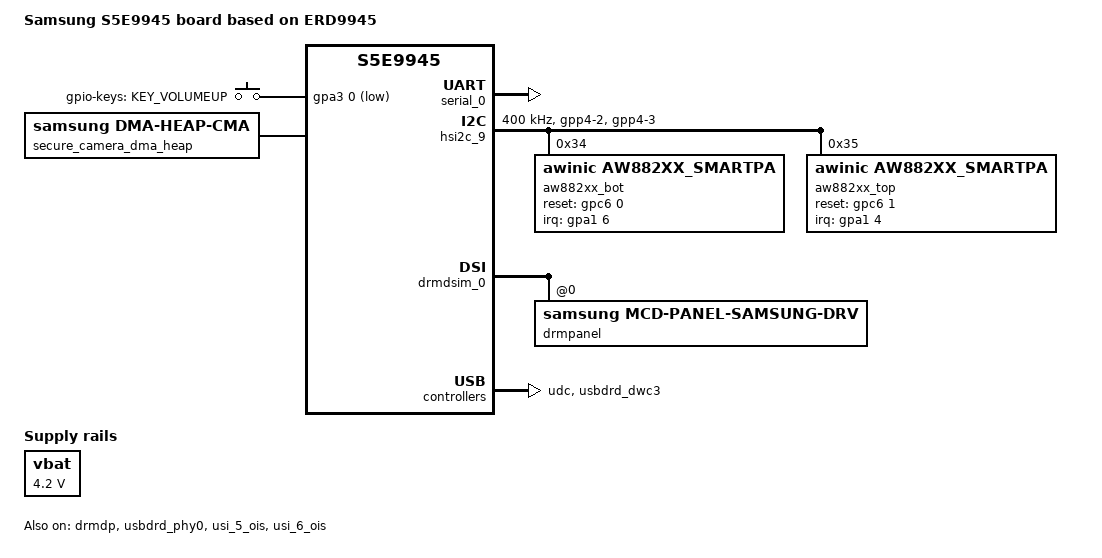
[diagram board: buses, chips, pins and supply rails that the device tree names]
/*
 * SAMSUNG S5E9945 SoC device tree source
 *
 * Copyright (c) 2023 Samsung Electronics Co., Ltd.
 *             http://www.samsung.com
 *
 * SAMSUNG S5E9945 SoC device nodes are listed in this file.
 * EXYNOS based board files can include this file and provide
 * values for board specfic bindings.
 *
 * This program is free software; you can redistribute it and/or modify
 * it under the terms of the GNU General Public License version 2 as
 * published by the Free Software Foundation.
 */

//#include <dt-bindings/clock/s5e9945.h>
#include <dt-bindings/interrupt-controller/s5e9945.h>
#include <dt-bindings/gpio/gpio.h>
#include <dt-bindings/pci/pci.h>
#include "../s5e9945_common.dtsi"
#include "../../exynos/board/erd/s5e9945-cp-s5153ap-sipc.dtsi"
#include "../../exynos/board/erd/s5e9945-erd9945-gnss.dtsi"
#include "s5e9945-sec-r13s-input-common.dtsi"

#define BOARD_ID	0x0

/ {
	compatible = "samsung,armv9", "samsung,s5e9945";
	board_id = <BOARD_ID>;
	board_rev = <0x0>;

	fragment@model {
		target-path = "/";
		__overlay__ {
			#address-cells = <2>;
			#size-cells = <1>;

			model = "Samsung S5E9945 board based on ERD9945";

			gpio_keys {
				status = "okay";
				compatible = "gpio-keys";
				pinctrl-names = "default";
				pinctrl-0 = <&key_volup>;

				button@3 {
					label = "gpio-keys: KEY_VOLUMEUP";
					linux,code = <115>;
					gpios = <&gpa3 0 0xf>;
					debounce-interval = <0x0f>;
					gpio-key,wakeup;
				};
			};

			vbat: vbat {
				compatible = "regulator-fixed";
				regulator-name = "VBAT";
				regulator-min-microvolt = <4200000>;
				regulator-max-microvolt = <4200000>;
				regulator-boot-on;
			};

			dummy_audio_codec: audio-codec-dummy {
				compatible = "snd-soc-dummy";
				#sound-dai-cells = <0>;
			};

			dummy_audio_cpu: audio-cpu-dummy {
				compatible = "samsung,dummy-cpu";
				#sound-dai-cells = <0>;
			};

			abox_synchronized_ipc_aw: abox_synchronized_ipc_aw {
				compatible = "samsung,abox-synchronized-ipc-aw";
				#sound-dai-cells = <1>;
				abox = <&abox>;
				status = "okay";
			};

			sound {
				compatible = "samsung,exynos9945-audio";

				MICBIAS1-supply = <&l12_reg>;
				MICBIAS2-supply = <&l12_reg>;

				/* Trick for probe order */
				dmas = <&dp_dma0>;

				samsung,routing =
					"DMIC1", "MICBIAS1",
					"DMIC2", "MICBIAS2",
					"BLUETOOTH SPK", "ABOX UAIF2 Playback",
					"ABOX UAIF2 Capture", "BLUETOOTH MIC",
					"USB SPK", "ABOX USB Playback",
					"ABOX USB Capture", "USB MIC",
					"FWD SPK", "ABOX FWD Playback",
					"ABOX FWD Capture", "FWD MIC",
					"VTS Virtual Output", "VTS Virtual Output Mux",
					"PAD DPDM", "DMIC1",
					"PAD DPDM", "DMIC2",
					"PAD DPDM", "DMIC3";

				samsung,aux = <&abox_effect &abox_tplg>;

				rdma0 {
					cpu {
						sound-dai = <&abox_rdma_0 0>;
					};
					platform {
						sound-dai = <&abox_rdma_0 0>;
					};
				};
				rdma1 {
					cpu {
						sound-dai = <&abox_rdma_1 0>;
					};
					platform {
						sound-dai = <&abox_rdma_1 0>;
					};
				};
				rdma2 {
					cpu {
						sound-dai = <&abox_rdma_2 0>;
					};
					platform {
						sound-dai = <&abox_rdma_2 0>;
					};
				};
				rdma3 {
					cpu {
						sound-dai = <&abox_rdma_3 0>;
					};
					platform {
						sound-dai = <&abox_rdma_3 0>;
					};
				};
				rdma4 {
					cpu {
						sound-dai = <&abox_rdma_4 0>;
					};
					platform {
						sound-dai = <&abox_rdma_4 0>;
					};
				};
				rdma5 {
					cpu {
						sound-dai = <&abox_rdma_5 0>;
					};
					platform {
						sound-dai = <&abox_rdma_5 0>;
					};
				};
				rdma6 {
					cpu {
						sound-dai = <&abox_rdma_6 0>;
					};
					platform {
						sound-dai = <&abox_rdma_6 0>;
					};
				};
				rdma7 {
					cpu {
						sound-dai = <&abox_rdma_7 0>;
					};
					platform {
						sound-dai = <&abox_rdma_7 0>;
					};
				};
				rdma8 {
					cpu {
						sound-dai = <&abox_rdma_8 0>;
					};
					platform {
						sound-dai = <&abox_rdma_8 0>;
					};
				};
				rdma9 {
					cpu {
						sound-dai = <&abox_rdma_9 0>;
					};
					platform {
						sound-dai = <&abox_rdma_9 0>;
					};
				};
				rdma10 {
					cpu {
						sound-dai = <&abox_rdma_10 0>;
					};
					platform {
						sound-dai = <&abox_rdma_10 0>;
					};
				};
				rdma11 {
					cpu {
						sound-dai = <&abox_rdma_11 0>;
					};
					platform {
						sound-dai = <&abox_rdma_11 0>;
					};
				};
				rdma12 {
					cpu {
						sound-dai = <&abox_rdma_12 0>;
					};
					platform {
						sound-dai = <&abox_rdma_12 0>;
					};
				};
				rdma13 {
					cpu {
						sound-dai = <&abox_rdma_13 0>;
					};
					platform {
						sound-dai = <&abox_rdma_13 0>;
					};
				};
				rdma14 {
					cpu {
						sound-dai = <&abox_rdma_14 0>;
					};
					platform {
						sound-dai = <&abox_rdma_14 0>;
					};
				};
				rdma15 {
					cpu {
						sound-dai = <&abox_rdma_15 0>;
					};
					platform {
						sound-dai = <&abox_rdma_15 0>;
					};
				};
				wdma0 {
					cpu {
						sound-dai = <&abox_wdma_0 0>;
					};
					platform {
						sound-dai = <&abox_wdma_0 0>;
					};
				};
				wdma1 {
					cpu {
						sound-dai = <&abox_wdma_1 0>;
					};
					platform {
						sound-dai = <&abox_wdma_1 0>;
					};
				};
				wdma2 {
					cpu {
						sound-dai = <&abox_wdma_2 0>;
					};
					platform {
						sound-dai = <&abox_wdma_2 0>;
					};
				};
				wdma3 {
					cpu {
						sound-dai = <&abox_wdma_3 0>;
					};
					platform {
						sound-dai = <&abox_wdma_3 0>;
					};
				};
				wdma4 {
					cpu {
						sound-dai = <&abox_wdma_4 0>;
					};
					platform {
						sound-dai = <&abox_wdma_4 0>;
					};
				};
				wdma5 {
					cpu {
						sound-dai = <&abox_wdma_5 0>;
					};
					platform {
						sound-dai = <&abox_wdma_5 0>;
					};
				};
				wdma6 {
					cpu {
						sound-dai = <&abox_wdma_6 0>;
					};
					platform {
						sound-dai = <&abox_wdma_6 0>;
					};
				};
				wdma7 {
					cpu {
						sound-dai = <&abox_wdma_7 0>;
					};
					platform {
						sound-dai = <&abox_wdma_7 0>;
					};
				};
				wdma8 {
					cpu {
						sound-dai = <&abox_wdma_8 0>;
					};
					platform {
						sound-dai = <&abox_wdma_8 0>;
					};
				};
				wdma9 {
					cpu {
						sound-dai = <&abox_wdma_9 0>;
					};
					platform {
						sound-dai = <&abox_wdma_9 0>;
					};
				};
				wdma10 {
					cpu {
						sound-dai = <&abox_wdma_10 0>;
					};
					platform {
						sound-dai = <&abox_wdma_10 0>;
					};
				};
				wdma11 {
					cpu {
						sound-dai = <&abox_wdma_11 0>;
					};
					platform {
						sound-dai = <&abox_wdma_11 0>;
					};
				};
				vts0 {
					cpu {
						sound-dai = <&vts 0>;
					};
					platform {
						sound-dai = <&vts_dma0>;
					};
				};
				vts1 {
					cpu {
						sound-dai = <&vts 1>;
					};
					platform {
						sound-dai = <&vts_dma1>;
					};
				};
				vts2 {
					cpu {
						sound-dai = <&vts 2>;
					};
					platform {
						sound-dai = <&vts_dma2>;
					};
				};

				dp0_audio {
					cpu {
						sound-dai = <&displayport_adma 0>;
					};
					platform {
						sound-dai = <&dp_dma0>;
					};
				};

				dual0 {
					cpu {
						sound-dai = <&abox_dual_0>;
					};
					platform {
						sound-dai = <&abox_dual_0>;
					};
				};
				dual1 {
					cpu {
						sound-dai = <&abox_dual_1>;
					};
					platform {
						sound-dai = <&abox_dual_1>;
					};
				};
				dual2 {
					cpu {
						sound-dai = <&abox_dual_2>;
					};
					platform {
						sound-dai = <&abox_dual_2>;
					};
				};
				dual3 {
					cpu {
						sound-dai = <&abox_dual_3>;
					};
					platform {
						sound-dai = <&abox_dual_3>;
					};
				};
				dual4 {
					cpu {
						sound-dai = <&abox_dual_4>;
					};
					platform {
						sound-dai = <&abox_dual_4>;
					};
				};
				dual5 {
					cpu {
						sound-dai = <&abox_dual_5>;
					};
					platform {
						sound-dai = <&abox_dual_5>;
					};
				};
				dual6 {
					cpu {
						sound-dai = <&abox_dual_6>;
					};
					platform {
						sound-dai = <&abox_dual_6>;
					};
				};
				dual7 {
					cpu {
						sound-dai = <&abox_dual_7>;
					};
					platform {
						sound-dai = <&abox_dual_7>;
					};
				};
				dual8 {
					cpu {
						sound-dai = <&abox_dual_8>;
					};
					platform {
						sound-dai = <&abox_dual_8>;
					};
				};
				dual9 {
					cpu {
						sound-dai = <&abox_dual_9>;
					};
					platform {
						sound-dai = <&abox_dual_9>;
					};
				};
				dual10 {
					cpu {
						sound-dai = <&abox_dual_10>;
					};
					platform {
						sound-dai = <&abox_dual_10>;
					};
				};
				dual11 {
					cpu {
						sound-dai = <&abox_dual_11>;
					};
					platform {
						sound-dai = <&abox_dual_11>;
					};
				};
				ddma0 {
					cpu {
						sound-dai = <&abox_ddma_0>;
					};
					platform {
						sound-dai = <&abox_ddma_0>;
					};
				};
				ddma1 {
					cpu {
						sound-dai = <&abox_ddma_1>;
					};
					platform {
						sound-dai = <&abox_ddma_1>;
					};
				};
				ddma2 {
					cpu {
						sound-dai = <&abox_ddma_2>;
					};
					platform {
						sound-dai = <&abox_ddma_2>;
					};
				};
				ddma3 {
					cpu {
						sound-dai = <&abox_ddma_3>;
					};
					platform {
						sound-dai = <&abox_ddma_3>;
					};
				};
				ddma4 {
					cpu {
						sound-dai = <&abox_ddma_4>;
					};
					platform {
						sound-dai = <&abox_ddma_4>;
					};
				};
				ddma5 {
					cpu {
						sound-dai = <&abox_ddma_5>;
					};
					platform {
						sound-dai = <&abox_ddma_5>;
					};
				};
				uaif0 {
					format = "i2s";
					cpu {
						sound-dai = <&abox_uaif_0>;
					};
				};
				uaif1 {
					format = "i2s";
					cpu {
						sound-dai = <&abox_uaif_1>;
					};
				};
				uaif2 {
					format = "i2s";
					cpu {
						sound-dai = <&abox_uaif_2>;
					};
				};
				uaif3 {
					format = "i2s";
					cpu {
						sound-dai = <&abox_uaif_3>;
					};
					codec {
						sound-dai = <&aw882xx_top &aw882xx_bot>;
					};
				};
				uaif4 {
					format = "dsp_a";
					cpu {
						sound-dai = <&abox_uaif_4>;
					};
				};
				uaif5 {
					format = "dsp_a";
					cpu {
						sound-dai = <&abox_uaif_5>;
					};
				};
				uaif6 {
					format = "dsp_a";
					bitclock-master;
					bitclock-inversion;
					frame-master;

					cpu {
						sound-dai = <&abox_uaif_6>;
					};
					codec {
						sound-dai = <&vts_s_lif 0>;
					};
				};
				dsif0 {
					format = "pdm";
					cpu {
						sound-dai = <&abox_dsif>;
					};
				};
				udma_rd0 {
					cpu {
						sound-dai = <&abox_udma_rd_0>;
					};
				};
				udma_wr0 {
					cpu {
						sound-dai = <&abox_udma_wr_0>;
					};
				};
				udma_wr_dual0 {
					cpu {
						sound-dai = <&abox_udma_wr_dual_0>;
					};
				};
				udma_wr_dbg0 {
					cpu {
						sound-dai = <&abox_udma_wr_debug_0>;
					};
				};
				rdma0_be {
					cpu {
						sound-dai = <&abox_rdma_0 1>;
					};
					platform {
						sound-dai = <&abox_rdma_0 1>;
					};
				};
				rdma1_be {
					cpu {
						sound-dai = <&abox_rdma_1 1>;
					};
					platform {
						sound-dai = <&abox_rdma_1 1>;
					};
				};
				rdma2_be {
					cpu {
						sound-dai = <&abox_rdma_2 1>;
					};
					platform {
						sound-dai = <&abox_rdma_2 1>;
					};
				};
				rdma3_be {
					cpu {
						sound-dai = <&abox_rdma_3 1>;
					};
					platform {
						sound-dai = <&abox_rdma_3 1>;
					};
				};
				rdma4_be {
					cpu {
						sound-dai = <&abox_rdma_4 1>;
					};
					platform {
						sound-dai = <&abox_rdma_4 1>;
					};
				};
				rdma5_be {
					cpu {
						sound-dai = <&abox_rdma_5 1>;
					};
					platform {
						sound-dai = <&abox_rdma_5 1>;
					};
				};
				rdma6_be {
					cpu {
						sound-dai = <&abox_rdma_6 1>;
					};
					platform {
						sound-dai = <&abox_rdma_6 1>;
					};
				};
				rdma7_be {
					cpu {
						sound-dai = <&abox_rdma_7 1>;
					};
					platform {
						sound-dai = <&abox_rdma_7 1>;
					};
				};
				rdma8_be {
					cpu {
						sound-dai = <&abox_rdma_8 1>;
					};
					platform {
						sound-dai = <&abox_rdma_8 1>;
					};
				};
				rdma9_be {
					cpu {
						sound-dai = <&abox_rdma_9 1>;
					};
					platform {
						sound-dai = <&abox_rdma_9 1>;
					};
				};
				rdma10_be {
					cpu {
						sound-dai = <&abox_rdma_10 1>;
					};
					platform {
						sound-dai = <&abox_rdma_10 1>;
					};
				};
				rdma11_be {
					cpu {
						sound-dai = <&abox_rdma_11 1>;
					};
					platform {
						sound-dai = <&abox_rdma_11 1>;
					};
				};
				rdma12_be {
					cpu {
						sound-dai = <&abox_rdma_12 1>;
					};
					platform {
						sound-dai = <&abox_rdma_12 1>;
					};
				};
				rdma13_be {
					cpu {
						sound-dai = <&abox_rdma_13 1>;
					};
					platform {
						sound-dai = <&abox_rdma_13 1>;
					};
				};
				rdma14_be {
					cpu {
						sound-dai = <&abox_rdma_14 1>;
					};
					platform {
						sound-dai = <&abox_rdma_14 1>;
					};
				};
				rdma15_be {
					cpu {
						sound-dai = <&abox_rdma_15 1>;
					};
					platform {
						sound-dai = <&abox_rdma_15 1>;
					};
				};
				wdma0_be {
					cpu {
						sound-dai = <&abox_wdma_0 1>;
					};
					platform {
						sound-dai = <&abox_wdma_0 1>;
					};
				};
				wdma1_be {
					cpu {
						sound-dai = <&abox_wdma_1 1>;
					};
					platform {
						sound-dai = <&abox_wdma_1 1>;
					};
				};
				wdma2_be {
					cpu {
						sound-dai = <&abox_wdma_2 1>;
					};
					platform {
						sound-dai = <&abox_wdma_2 1>;
					};
				};
				wdma3_be {
					cpu {
						sound-dai = <&abox_wdma_3 1>;
					};
					platform {
						sound-dai = <&abox_wdma_3 1>;
					};
				};
				wdma4_be {
					cpu {
						sound-dai = <&abox_wdma_4 1>;
					};
					platform {
						sound-dai = <&abox_wdma_4 1>;
					};
				};
				wdma5_be {
					cpu {
						sound-dai = <&abox_wdma_5 1>;
					};
					platform {
						sound-dai = <&abox_wdma_5 1>;
					};
				};
				wdma6_be {
					cpu {
						sound-dai = <&abox_wdma_6 1>;
					};
					platform {
						sound-dai = <&abox_wdma_6 1>;
					};
				};
				wdma7_be {
					cpu {
						sound-dai = <&abox_wdma_7 1>;
					};
					platform {
						sound-dai = <&abox_wdma_7 1>;
					};
				};
				wdma8_be {
					cpu {
						sound-dai = <&abox_wdma_8 1>;
					};
					platform {
						sound-dai = <&abox_wdma_8 1>;
					};
				};
				wdma9_be {
					cpu {
						sound-dai = <&abox_wdma_9 1>;
					};
					platform {
						sound-dai = <&abox_wdma_9 1>;
					};
				};
				wdma10_be {
					cpu {
						sound-dai = <&abox_wdma_10 1>;
					};
					platform {
						sound-dai = <&abox_wdma_10 1>;
					};
				};
				wdma11_be {
					cpu {
						sound-dai = <&abox_wdma_11 1>;
					};
					platform {
						sound-dai = <&abox_wdma_11 1>;
					};
				};
				usb {
					cpu {
						sound-dai = <&abox 0>;
					};
				};
				fwd {
					cpu {
						sound-dai = <&abox 1>;
					};
				};
			}; /* end of sound */

			abox_synchronized_ipc_ti: abox_synchronized_ipc_ti {
				compatible = "samsung,abox-synchronized-ipc-ti";
				#sound-dai-cells = <1>;
				abox = <&abox>;
				status = "okay";
			};

			sec-audio-sysfs {
				compatible = "samsung,audio-sysfs";
				status = "okay";
				audio,no-earjack;
				audio,num-amp = <2>;
			};

			sec-audio-debug {
				compatible = "samsung,audio-debug";
				status = "okay";

				abox_dbg_size_min = <0x600000>;
				abox_slog_size_min = <0x0>;
			};

			snd-debug-proc {
				compatible = "samsung,snd-debug-proc";
				status = "okay";
			};

			usb_hs_tune:hs_tune_phy {
				status = "disabled";
				hs_tune_cnt = <12>;
				/* value = <device host> */
				/* 0xffffffff means using default value */
				hs_tune1 {
					tune_name = "tx_fsls_slew_rate";
					tune_value = <0xffffffff 0xffffffff>;
				};

				hs_tune2 {
					tune_name = "tx_fsls_vref_tune";
					tune_value = <0x0 0x0>;
				};

				hs_tune3 {
					tune_name = "tx_fsls_vreg_bypass";
					tune_value = <0xffffffff 0xffffffff>;
				};

				hs_tune4 {
					tune_name = "tx_hs_vref_tune";
					tune_value = <0xffffffff 0xffffffff>;
				};

				hs_tune5 {
					tune_name = "tx_hs_xv";
					tune_value = <0xffffffff 0xffffffff>;
				};

				hs_tune6 {
					tune_name = "tx_preemp";
					tune_value = <0xffffffff 0xffffffff>;
				};

				hs_tune7 {
					tune_name = "tx_res";
					tune_value = <0xffffffff 0xffffffff>;
				};

				hs_tune8 {
					tune_name = "tx_rise";
					tune_value = <0xffffffff 0xffffffff>;
				};

				hs_tune9 {
					tune_name = "rx_eq_ctle";
					tune_value = <0xffffffff 0xffffffff>;
				};

				hs_tune10 {
					tune_name = "rx_hs_term_en";
					tune_value = <0xffffffff 0xffffffff>;
				};

				hs_tune11 {
					tune_name = "rx_hs_tune";
					tune_value = <0xffffffff 0xffffffff>;
				};

				hs_tune12 {
					tune_name = "reg_direct";
					tune_value = <0xffffffff 0xffffffff>;
				};
			};

			usb_ss_tune:ss_tune {
				status = "disabled";
				ss_tune_cnt = <13>;
				/* value = <device host> */
				/* 0xffffffff means using default value */
				ss_tune1 {
					tune_name = "tx_eq_pre_g1";
					tune_value = <0xffffffff 0xffffffff>;
				};

				ss_tune2 {
					tune_name = "tx_eq_pre_g2";
					tune_value = <0xffffffff 0xffffffff>;
				};

				ss_tune3 {
					tune_name = "tx_eq_post_g1";
					tune_value = <0xffffffff 0xffffffff>;
				};

				ss_tune4 {
					tune_name = "tx_eq_post_g2";
					tune_value = <0xffffffff 0xffffffff>;
				};

				ss_tune5 {
					tune_name = "tx_eq_main_g1";
					tune_value = <0xffffffff 0xffffffff>;
				};

				ss_tune6 {
					tune_name = "tx_eq_main_g2";
					tune_value = <0xffffffff 0xffffffff>;
				};

				ss_tune7 {
					tune_name = "tx_vswing_lvl";
					tune_value = <0xffffffff 0xffffffff>;
				};

				ss_tune8 {
					tune_name = "rx_eq_att_lvl";
					tune_value = <0xffffffff 0xffffffff>;
				};

				ss_tune9 {
					tune_name = "rx_eq_afe_gain";
					tune_value = <0xffffffff 0xffffffff>;
				};

				ss_tune10 {
					tune_name = "rx_eq_ctle_boost";
					tune_value = <0xffffffff 0xffffffff>;
				};

				ss_tune11 {
					tune_name = "rx_term_ctrl";
					tune_value = <0xffffffff 0xffffffff>;
				};

				ss_tune12 {
					tune_name = "tx_term_ctrl";
					tune_value = <0xffffffff 0xffffffff>;
				};

				ss_tune13 {
					tune_name = "tx_rxdet_time";
					tune_value = <0xffffffff 0xffffffff>;
				};
			};

			secure_camera_dma_heap {
				compatible = "samsung,dma-heap-cma";
				memory-region = <&secure_camera>;
				dma-heap,name = "secure_camera";
				dma-heap,preallocated;
				dma-heap,secure;
				dma-heap,secure_sysmmu;
				dma-heap,protection_id = <11>;
				dma-heap,alignment = <0x10000>;
			};
		};

		muic {
			status = "okay";
			muic,support-list = "TA","USB","CDP","JIG UART OFF","JIG UART OFF/VB",
				"JIG UART ON","JIG UART ON/VB","JIG USB OFF",
				"JIG USB ON","OTG","Unofficial TA","DCD Timeout",
				"AFC Charger";
		};

	};
};

&chosen {
	bootargs_ext = "";
};

&serial_0 {
	status = "okay";
};

&pinctrl_7 {
	aud_i2s2_active_common: aud-i2s2-active-common {
		samsung,pins = "gpb2-0", "gpb2-1", "gpb2-2";
		samsung,pin-function = <2>;
		samsung,pin-pud = <0>;
	};
	aud_i2s2_active_din: aud-i2s2-active-din {
		samsung,pins = "gpb2-3";
		samsung,pin-function = <2>;
		samsung,pin-pud = <0>;
	};
	aud_i2s2_idle_common: aud-i2s2-idle-common {
		samsung,pins = "gpb2-0", "gpb2-1", "gpb2-2";
		samsung,pin-function = <0>;
		samsung,pin-pud = <1>;
	};
	aud_i2s2_idle_din: aud-i2s2-idle-din {
		samsung,pins = "gpb2-3";
		samsung,pin-function = <0>;
		samsung,pin-pud = <0>;
		samsung,pin-pud-pdn = <0>;
	};
};

&pinctrl_9 {
	aud_i2s3_bus:aud-i2s3-bus {
		samsung,pins = "gpb5-0", "gpb5-1", "gpb5-2", "gpb5-3";
		samsung,pin-function = <2>;
		samsung,pin-pud = <0>;
		samsung,pin-drv = <2>;
	};

	aud_i2s3_idle:aud-i2s3-idle {
		samsung,pins = "gpb5-0", "gpb5-1", "gpb5-2", "gpb5-3";
		samsung,pin-function = <0>;
		samsung,pin-pud = <1>;
		samsung,pin-drv = <2>;
	};
};

&abox_uaif_2 {
	/delete-property/ pinctrl-names;
	/delete-property/ pinctrl-0;
	/delete-property/ pinctrl-1;
	pinctrl-names = "active", "idle";
	pinctrl-0 = <&aud_i2s2_active_common &aud_i2s2_active_din>;
	pinctrl-1 = <&aud_i2s2_idle_common &aud_i2s2_idle_din>;
};

&abox_uaif_3 {
	pinctrl-names = "active", "idle";
	pinctrl-0 = <&aud_i2s3_bus>;
	pinctrl-1 = <&aud_i2s3_idle>;
};

&pinctrl_0 {
	aw882xx_l_int: aw882xx-l-int {
		samsung,pins = "gpa1-4";
		samsung,pin-function = <0xf>;
		samsung,pin-pud = <3>;
		samsung,pin-con-pdn = <3>;
		samsung,pin-pud-pdn = <3>;
	};
	aw882xx_r_int: aw882xx-r-int {
		samsung,pins = "gpa1-6";
		samsung,pin-function = <0xf>;
		samsung,pin-pud = <3>;
		samsung,pin-con-pdn = <3>;
		samsung,pin-pud-pdn = <3>;
	};
};

&pinctrl_5 {
	hsi2c9_amp_bus: hsi2c9-amp-bus {
		samsung,pins = "gpp4-2", "gpp4-3";
		samsung,pin-function = <3>;
		samsung,pin-pud = <3>;
		samsung,pin-drv = <0>;
		samsung,pin-con-pdn = <3>;
		samsung,pin-pud-pdn = <3>;
	};
};

&pinctrl_7 {
	aw882xx_r_reset: aw882xx-r-reset {
		samsung,pins ="gpc6-0";
		samsung,pin-function = <1>;
		samsung,pin-val = <1>;
		samsung,pin-pud = <0>;
		samsung,pin-con-pdn = <3>;
		samsung,pin-pud-pdn = <0>;
	};
	aw882xx_l_reset: aw882xx-l-reset {
		samsung,pins ="gpc6-1";
		samsung,pin-function = <1>;
		samsung,pin-val = <1>;
		samsung,pin-pud = <0>;
		samsung,pin-con-pdn = <3>;
		samsung,pin-pud-pdn = <0>;
	};
};

&hsi2c_9 {
	#address-cells = <1>;
	#size-cells = <0>;
	status = "okay";
	clock-frequency = <400000>;
	pinctrl-names = "default";
	pinctrl-0 = <&hsi2c9_amp_bus>;

	aw882xx_bot: aw882xx_smartpa@34 {
		compatible = "awinic,aw882xx_smartpa";
		#sound-dai-cells = <0>;
		reg = <0x34>;
		chip-id = <0x2308>;
		pinctrl-names = "default";
		pinctrl-0 = <&aw882xx_r_reset &aw882xx_r_int>;

		num-amp = <2>;
		reset-gpio = <&gpc6 0 0>;
		irq-gpio = <&gpa1 6 0>;
		rename-flag = <1>;
		sound-channel = <1>;
		sync-load = <1>;
		sync-flag = <0>;
		aw-cali-mode = "aw_cali_all";
		status = "okay";
	};

	aw882xx_top: aw882xx_smartpa@35 {
		compatible = "awinic,aw882xx_smartpa";
		#sound-dai-cells = <0>;
		reg = <0x35>;
		chip-id = <0x2308>;
		pinctrl-names = "default";
		pinctrl-0 = <&aw882xx_l_reset &aw882xx_l_int>;

		num-amp = <2>;
		reset-gpio = <&gpc6 1 0>;
		irq-gpio = <&gpa1 4 0>;
		rename-flag = <1>;
		sound-channel = <0>;
		sync-load = <1>;
		sync-flag = <0>;
		aw-cali-mode = "aw_cali_all";
		status = "okay";
	};
};

&hsi2c4_bus {
    samsung,pin-pud = <3>;
    samsung,pin-pud-pdn = <3>;
};

&pinctrl_7 {
	ddi_rst: ddi-rst {
		samsung,pins = "gpc7-0";
		samsung,pin-function = <1>;    // OUT
		samsung,pin-pud = <0>;        // NP
		samsung,pin-con-pdn = <3>;    // PREV in sleep
		samsung,pin-pud-pdn = <0>;    // NP in sleep
	};
};

&drmdsim_0 {
	#address-cells = <1>;
	#size-cells = <0>;
	dsi-burst-cmd = <1>;
	frequency-hopping;
	wide-frequency-hopping;
	drmpanel {
		   compatible = "samsung,mcd-panel-samsung-drv";
		   /* reset, power */
		   reg = <0>;
	};
};

&drmdp {
	/* GPIO, PMIC-external GPIO */
	status = "okay";
	/* below gpios are pmic gpio, plz modify after implementation */
	dp,aux_sw_oe = <&s2mps28_1_gpio 1 0>;
	dp,sbu_sw_sel = <&s2mps28_1_gpio 2 0>;
	dp,usb_con_sel = <&gpc7 1 0>;
	pinctrl-names = "default";
};

&pinctrl_0 {
	key_volup: key-volup {
		samsung,pins = "gpa3-0";
		samsung,pin-function = <0xf>;
		samsung,pin-pud = <3>;
		samsung,pin-drv = <3>;
	};

	dc_irq: dc-irq {
		samsung,pins = "gpa1-7";
		samsung,pin-function = <0>;
		samsung,pin-pud = <0>;
		samsung,pin-drv = <0>;
	};
};

&hsi2c16_bus {
	samsung,pin-con-pdn = <3>;
	samsung,pin-pud-pdn = <0>;
};

&udc {
	status = "okay";
};

&usbdrd_dwc3 {
	status = "okay";
	maximum-speed = "super-speed";
	usb_audio_offloading = <1>;
	abox = <&abox>;
	samsung,abox-gic = <&abox_gic>;
	xhci_use_uram_for_audio = <1>;

	vdd075_usb-supply = <&s5_l2_reg>;
	vdd12_usb-supply = <&s4_l4_reg>;
	vdd18_usb-supply = <&l7_reg>;
	vdd33_usb-supply = <&l11_reg>;

	/delete-property/ snps,dis-u1-entry-quirk;
	/delete-property/ snps,dis-u2-entry-quirk;
};

&usbdrd_phy0 {
	status = "okay";

	pinctrl-names = "default";
	phy,gpio_phy_port = <&gpc7 1 0x0>;
	hs_tune_param = <&usb_hs_tune>;
	ss_tune_param = <&usb_ss_tune>;
	low_power_call = <1>;

	vdd075_usb-supply = <&s5_l2_reg>;
	vdd12_usb-supply = <&s4_l4_reg>;
	vdd18_usb-supply = <&l7_reg>;
	vdd33_usb-supply = <&l11_reg>;
};
/* USB board DT end */

&ufs {
	vcc-supply = <&l8_reg>;
	vccq-supply = <&s4_l5_reg>;
};

&usi_5_ois {
	usi_v2_mode = "i2c";
	status = "okay";
};

&usi_6_ois {
	usi_v2_mode = "spi";
	status = "okay";
};

&ssp {
	vdd_se-supply = <&l15_reg>;
};

&drmdpp16 {
	/* RCD BLOCK mode configurations, based on panel size*/
	rcd_block_mode_en = <1>;

	/* block mode start offset (x,y) */
	rcd_block_mode_x  = <0>;
	rcd_block_mode_y  = <136>;

	/* block mode width & height from offset (x,y) */
	rcd_block_mode_w  = <1080>;
	rcd_block_mode_h  = <2068>;
};

&drmdecon0 {
	recovery-enable;
	recovery-modes = "mcd_uevent", "customer", "force";
	recovery-condition {
		mcd_uevent {
			max-recovery = <200>;
			send-uevent;
		};

		customer {
			max-recovery = <200>;
			refresh-panel;
			reset-vblank;
		};
		force {
			max-limit = <3 5>;
			max-recovery = <5>;
			disable-watchdog;
		};
	};
};

&serial_0 {
	status = "okay";
};

/* Do not pass gpa3-6 irq to kernel. Ony ACPM can receive IRQ, not kernel */
&pinctrl_0 {
	interrupts = <GIC_SPI EXT_INTA0_OUT0 IRQ_TYPE_LEVEL_HIGH>,
		     <GIC_SPI EXT_INTA0_OUT1 IRQ_TYPE_LEVEL_HIGH>,
		     <GIC_SPI EXT_INTA0_OUT2 IRQ_TYPE_LEVEL_HIGH>,
		     <GIC_SPI EXT_INTA0_OUT3 IRQ_TYPE_LEVEL_HIGH>,
		     <GIC_SPI EXT_INTA0_OUT4 IRQ_TYPE_LEVEL_HIGH>,
		     <GIC_SPI EXT_INTA0_OUT5 IRQ_TYPE_LEVEL_HIGH>,
		     <GIC_SPI EXT_INTA0_OUT6 IRQ_TYPE_LEVEL_HIGH>,
		     <GIC_SPI EXT_INTA0_OUT7 IRQ_TYPE_LEVEL_HIGH>,
		     <GIC_SPI EXT_INTA1_OUT0 IRQ_TYPE_LEVEL_HIGH>,
		     <GIC_SPI EXT_INTA1_OUT1 IRQ_TYPE_LEVEL_HIGH>,
		     <GIC_SPI EXT_INTA1_OUT2 IRQ_TYPE_LEVEL_HIGH>,
		     <GIC_SPI EXT_INTA1_OUT3 IRQ_TYPE_LEVEL_HIGH>,
		     <GIC_SPI EXT_INTA1_OUT4 IRQ_TYPE_LEVEL_HIGH>,
		     <GIC_SPI EXT_INTA1_OUT5 IRQ_TYPE_LEVEL_HIGH>,
		     <GIC_SPI EXT_INTA1_OUT6 IRQ_TYPE_LEVEL_HIGH>,
		     <GIC_SPI EXT_INTA1_OUT7 IRQ_TYPE_LEVEL_HIGH>,
		     <GIC_SPI EXT_INTA2_OUT0 IRQ_TYPE_LEVEL_HIGH>,
		     <GIC_SPI EXT_INTA2_OUT1 IRQ_TYPE_LEVEL_HIGH>,
		     <GIC_SPI EXT_INTA2_OUT2 IRQ_TYPE_LEVEL_HIGH>,
		     <GIC_SPI EXT_INTA2_OUT3 IRQ_TYPE_LEVEL_HIGH>,
		     <GIC_SPI EXT_INTA2_OUT4 IRQ_TYPE_LEVEL_HIGH>,
		     <GIC_SPI EXT_INTA2_OUT5 IRQ_TYPE_LEVEL_HIGH>,
		     <GIC_SPI EXT_INTA2_OUT6 IRQ_TYPE_LEVEL_HIGH>,
		     <GIC_SPI EXT_INTA2_OUT7 IRQ_TYPE_LEVEL_HIGH>,
		     <GIC_SPI EXT_INTA3_OUT0 IRQ_TYPE_LEVEL_HIGH>,
		     <GIC_SPI EXT_INTA3_OUT1 IRQ_TYPE_LEVEL_HIGH>,
		     <GIC_SPI EXT_INTA3_OUT2 IRQ_TYPE_LEVEL_HIGH>,
		     <GIC_SPI EXT_INTA3_OUT3 IRQ_TYPE_LEVEL_HIGH>,
		     <GIC_SPI EXT_INTA3_OUT4 IRQ_TYPE_LEVEL_HIGH>,
		     <GIC_SPI EXT_INTA3_OUT5 IRQ_TYPE_LEVEL_HIGH>,
		     <GIC_SPI INTREQ__DUMMY  IRQ_TYPE_LEVEL_HIGH>,
		     <GIC_SPI EXT_INTA3_OUT7 IRQ_TYPE_LEVEL_HIGH>,
		     <GIC_SPI EXT_INTA4_OUT0 IRQ_TYPE_LEVEL_HIGH>,
		     <GIC_SPI EXT_INTA4_OUT1 IRQ_TYPE_LEVEL_HIGH>;
};

&pinctrl_6 {
	decon_1_te_on: decon_1_te_on {
		samsung,pins = "gpg2-1";
		samsung,pin-function = <0xf>;
	};

	decon_1_te_off: decon_1_te_off {
		samsung,pins = "gpg2-1";
		samsung,pin-function = <0>;
	};
};

&drmdecon0 {
	connector = <0x1 0x8>;
};


&reserved_memory {
	secure_camera: secure_camera {
		compatible = "shared-dma-pool";
		reg = <0x0 0x96000000 0x07400000>;
		alignment = <0x0 0x00010000>;
		reusable;
	};
};

&pinctrl_7 {
	pinctrl-names = "default";
	pinctrl-0 = <&initial7>;
	initial7: initial-state {
		PIN_IN_SLP(gpp3-0, UP, INPUT, UP);
	};
};

&gpa3 {
	samsung,keep-digital-filter = <0x40>; /* Bit 6 = 1 -> keep filter on pin gpa3-6 */
};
